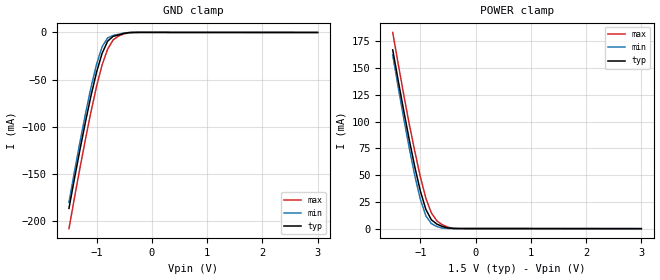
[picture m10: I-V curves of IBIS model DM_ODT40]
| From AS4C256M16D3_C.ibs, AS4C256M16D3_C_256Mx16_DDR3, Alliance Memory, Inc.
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|   DM_ODT40
[Model]   DM_ODT40
Model_type   Input
Vinl = 575.000mV
Vinh = 925.000mV
|   typ   min   max
C_comp   1.28pF   1.13pF   1.42pF
[Model Spec]
| Input threshold voltage corners
Vinl   0.5750V   0.5375V   0.6125V
Vinh   0.9250V   0.8875V   0.9625V
|[Receiver Thresholds]
|Vth   =  0.750V
|Vth_min  =  0.735V
|Vth_max  =  0.765V
|Vinh_ac  =  0.175V
|Vinh_dc  =  0.100V
|Vinl_ac  = -0.175V
|Vinl_dc  = -0.100V
|Tslew_ac =  5.000ns
[Voltage Range]   1.500V   1.425V   1.575V
[Pullup Reference]   1.500V   1.425V   1.575V
[Temperature Range]   85.00   110.00   0.00
[Add Submodel]
| Submodel Name   Mode
40Ohm_ODT   Non-Driving
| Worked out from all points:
|   GND clamp passes 1 mA (typ) near -0.50 V on its own axis
|   POWER clamp passes 1 mA (typ) near -0.52 V on its own axis
[GND Clamp]
|   Voltage   I(typ)   I(min)   I(max)
-1.5V     -186.6mA   -180.2mA   -208.1mA
-1.3V     -124mA     -115.9mA   -143.4mA
-1.2V     -94.46mA   -85.81mA   -112.8mA
-1.1V     -66.77mA   -57.93mA   -83.74mA
-1V       -42.02mA   -33.6mA    -57.09mA
-900mV    -22.12mA   -15.14mA   -34.34mA
-800mV    -9.249mA   -5.747mA   -17.61mA
-700mV    -4.071mA   -3.154mA   -7.827mA
-600mV    -2.644mA   -1.877mA   -3.693mA
-500mV    -993uA     -526uA     -1.442mA
-300mV    78uA       84uA       55.65uA
3V        0A         0A         0A
[POWER Clamp]
|   Voltage   I(typ)   I(min)   I(max)
-1.5V     167.1mA    162.2mA    183.4mA
-1.3V     110mA      102.9mA    125.1mA
-1.2V     82.93mA    75.11mA    97.57mA
-1.1V     57.67mA    49.47mA    72.27mA
-1V       35.22mA    27.36mA    48.51mA
-900mV    17.97mA    11.86mA    28.4mA
-800mV    8.253mA    4.701mA    14.62mA
-700mV    4.234mA    1.916mA    7.259mA
-600mV    2.022mA    527uA      3.602mA
-500mV    664uA      134uA      1.371mA
-300mV    91uA       84uA       108.2uA
3V        0A         0A         0A
